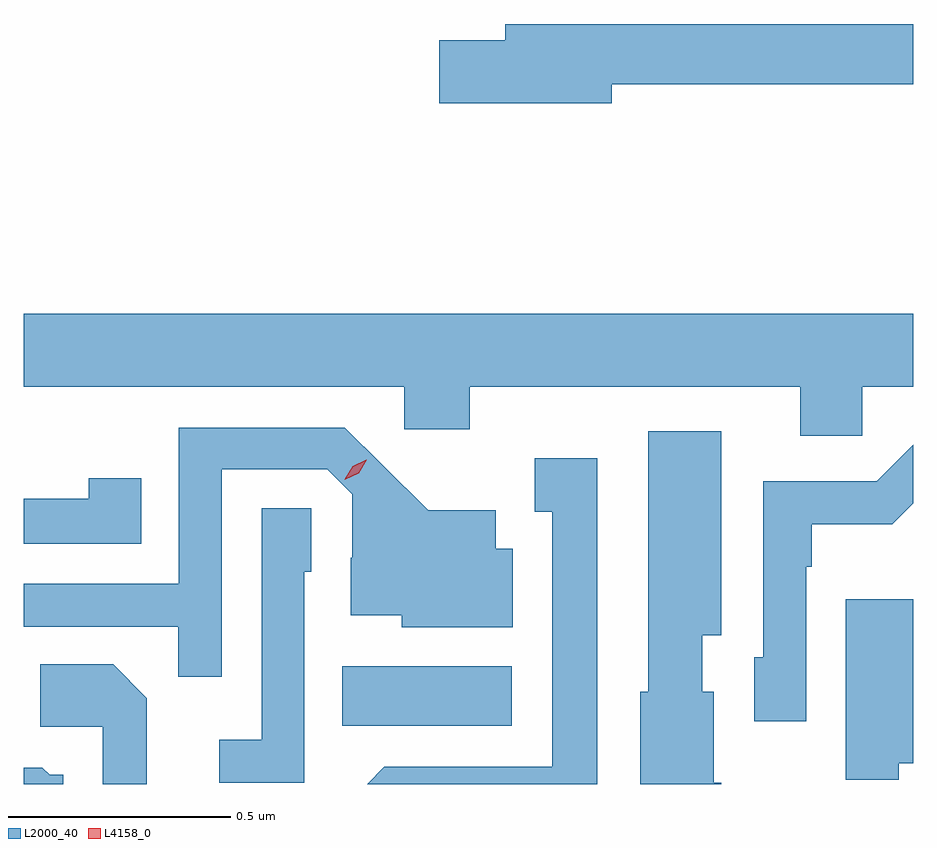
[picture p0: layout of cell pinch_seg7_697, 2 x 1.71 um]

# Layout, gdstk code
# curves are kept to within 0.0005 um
import gdstk
lib = gdstk.Library(unit=1e-6, precision=1e-09)
def R(c, l, rs):  # rectangles x0, y0, x1, y1
    for r in rs: c.add(gdstk.rectangle(r[:2], r[2:], *l))
def P(c, l, *ps):  # polygons
    for p in ps: c.add(gdstk.Polygon(p, *l))
L2000_40 = (2000, 40)
L4158_0 = (4158, 0)

pinch_seg7_697 = lib.new_cell('pinch_seg7_697')
R(pinch_seg7_697, L2000_40, [(168.448,1006.514,168.829,1006.648)])
P(pinch_seg7_697, L2000_40, [(169.054,1007.956),(169.732,1007.956),(169.732,1008.092),(168.815,1008.092),(168.815,1008.056),(168.666,1008.056),(168.666,1007.914),(169.054,1007.914)],
  [(169.617,1007.276),(169.732,1007.276),(169.732,1007.44),(167.732,1007.44),(167.732,1007.276),(168.588,1007.276),(168.588,1007.181),(168.735,1007.181),(168.735,1007.276),(169.478,1007.276),(169.478,1007.166),(169.617,1007.166)],
  [(168.177,1007.091),(168.414,1007.091),(168.471,1007.034),(168.471,1006.892),(168.467,1006.892),(168.467,1006.763),(168.582,1006.763),(168.582,1006.736),(168.832,1006.736),(168.832,1006.912),(168.793,1006.912),(168.793,1006.999),(168.641,1006.999),(168.454,1007.184),(168.081,1007.184),(168.081,1006.833),(167.732,1006.833),(167.732,1006.737),(168.079,1006.737),(168.079,1006.624),(168.177,1006.624)],
  [(169.3,1006.386),(169.284,1006.386),(169.284,1006.59),(169.258,1006.59),(169.258,1006.718),(169.3,1006.718),(169.3,1007.176),(169.136,1007.176),(169.136,1006.59),(169.118,1006.59),(169.118,1006.383),(169.3,1006.383)],
  [(169.491,1006.871),(169.504,1006.871),(169.504,1006.967),(169.685,1006.967),(169.732,1007.014),(169.732,1007.146),(169.65,1007.064),(169.395,1007.064),(169.395,1006.668),(169.374,1006.668),(169.374,1006.524),(169.491,1006.524)],
  [(169.021,1007.116),(168.881,1007.116),(168.881,1006.995),(168.92,1006.995),(168.92,1006.422),(168.543,1006.422),(168.504,1006.383),(169.021,1006.383)],
  [(167.996,1007.071),(167.878,1007.071),(167.878,1007.024),(167.732,1007.024),(167.732,1006.923),(167.996,1006.923)],
  [(168.363,1006.86),(168.378,1006.86),(168.378,1007.003),(168.267,1007.003),(168.267,1006.483),(168.171,1006.483),(168.171,1006.386),(168.363,1006.386)],
  [(169.7,1006.43),(169.732,1006.43),(169.732,1006.798),(169.58,1006.798),(169.58,1006.393),(169.7,1006.393)],
  [(168.009,1006.576),(167.933,1006.652),(167.769,1006.652),(167.769,1006.512),(167.91,1006.512),(167.91,1006.383),(168.009,1006.383)],
  [(167.821,1006.404),(167.79,1006.404),(167.774,1006.42),(167.732,1006.42),(167.732,1006.383),(167.821,1006.383)])
P(pinch_seg7_697, L4158_0, [(168.454,1007.067),(168.454,1007.068),(168.472,1007.097),(168.502,1007.112),(168.503,1007.112),(168.503,1007.112),(168.485,1007.082),(168.454,1007.067)])

lib.write_gds('pinch_seg7_697.gds')
